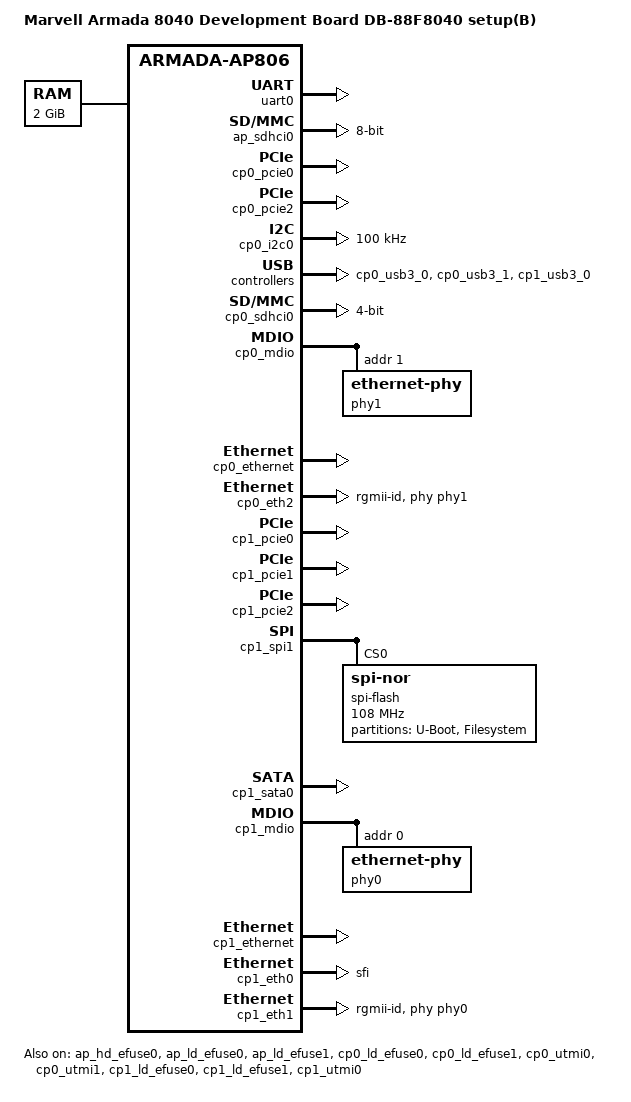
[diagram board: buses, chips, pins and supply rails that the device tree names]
// SPDX-License-Identifier: GPL-2.0+
/*
 * Copyright (C) 2018 Marvell International Ltd.
 */

/*
 * Device Tree file for Marvell Armada 8040 Development board platform
 */

#include "armada-80x0-db.dtsi"

/ {
	model = "Marvell Armada 8040 Development Board DB-88F8040 setup(B)";
	compatible = "marvell,armada8040-db", "marvell,armada8040",
		     "marvell,armada-ap806-quad", "marvell,armada-ap806";

	chosen {
		stdout-path = "serial0:115200n8";
	};

	aliases {
		i2c0 = &cp0_i2c0;
		spi0 = &cp1_spi1;
		fuse1 = &ap_ld_efuse0;
		fuse2 = &ap_ld_efuse1;
		fuse3 = &cp0_ld_efuse0;
		fuse4 = &cp0_ld_efuse1;
		fuse5 = &cp1_ld_efuse0;
		fuse6 = &cp1_ld_efuse1;
	};

	memory@00000000 {
		device_type = "memory";
		reg = <0x0 0x0 0x0 0x80000000>;
	};
};

/* Accessible over the mini-USB CON9 connector on the main board */
&uart0 {
	status = "okay";
};

&ap_hd_efuse0 {
	status = "okay";
};

&ap_ld_efuse0 {
	status = "okay";
};

&ap_ld_efuse1 {
	status = "okay";
};

&ap_pinctl {
	/* MPP Bus:
	 * SDIO  [0-10]
	 * UART0 [11,19]
	 */
		  /* 0 1 2 3 4 5 6 7 8 9 */
	pin-func = < 1 1 1 1 1 1 1 1 1 1
		     1 3 0 0 0 0 0 0 0 3 >;
};

&ap_sdhci0 {
	pinctrl-names = "default";
	pinctrl-0 = <&ap_emmc_pins>;
	bus-width = <8>;
	status = "okay";
};

&cp0_pinctl {
	/* MPP Bus:
	 *	[0-31]	= 0xff: Keep default CP0_shared_pins
	 *	[11]	CLKOUT_MPP_11 (out)
	 *	[23]	LINK_RD_IN_CP2CP (in)
	 *	[25]	CLKOUT_MPP_25 (out)
	 *	[29]	AVS_FB_IN_CP2CP (in)
	 *	[32,34]	GE_MDIO/MDC
	 *	[33]	GPIO: GE_INT#/push button/Wake
	 *	[35]	MSS_GPIO[3]: MSS_PWDN
	 *	[36]	MSS_GPIO[5]: MSS_VTT_EN
	 *	[37-38]	I2C0
	 *	[39]	PTP_CLK
	 *	[40-41]	SATA[0/1]_PRESENT_ACTIVEn
	 *	[42-43]	XG_MDC/XG_MDIO (XSMI)
	 *	[44-55]	RGMII1
	 *	[56-62]	SD
	 */
	/*   0    1    2    3    4    5    6    7    8    9 */
	pin-func = < 0xff 0xff 0xff 0xff 0xff 0xff 0xff 0xff 0xff 0xff
		     0xff 0xff 0xff 0xff 0xff 0xff 0xff 0xff 0xff 0xff
		     0xff 0xff 0xff 0xff 0xff 0xff 0xff 0xff 0xff 0xff
		     0xff 0xff 0x7  0x0  0x7  0xa  0xa  0x2  0x2  0x5
		     0x9  0x9  0x8  0x8  0x1  0x1  0x1  0x1  0x1  0x1
		     0x1  0x1  0x1  0x1  0x1  0x1  0xe  0xe  0xe  0xe
		     0xe  0xe  0xe>;
};

&cp0_ld_efuse0 {
	status = "okay";
};

&cp0_ld_efuse1 {
	status = "okay";
};

&cp0_comphy {
	/* Serdes Configuration:
	 *	Lane 0-3: PCIe0 (x4)
	 *	Lane 4: USB3_HOST1
	 *	Lane 5: PCIe2 (x1)
	 */
	phy0 {
		phy-type = <COMPHY_TYPE_PEX0>;
	};

	phy1 {
		phy-type = <COMPHY_TYPE_PEX0>;
	};

	phy2 {
		phy-type = <COMPHY_TYPE_PEX0>;
	};

	phy3 {
		phy-type = <COMPHY_TYPE_PEX0>;
	};

	phy4 {
		phy-type = <COMPHY_TYPE_USB3_HOST1>;
	};

	phy5 {
		phy-type = <COMPHY_TYPE_PEX2>;
	};
};

/* CON6 on CP0 expansion */
&cp0_pcie0 {
	status = "okay";
};

&cp0_pcie1 {
	status = "disabled";
};

/* CON5 on CP0 expansion */
&cp0_pcie2 {
	status = "okay";
};

&cp0_i2c0 {
	pinctrl-names = "default";
	pinctrl-0 = <&cp0_i2c0_pins>;
	status = "okay";
	clock-frequency = <100000>;
};

/* CON9 on CP0 expansion */
&cp0_usb3_0 {
	status = "okay";
};

/* CON10 on CP0 expansion */
&cp0_usb3_1 {
	status = "okay";
};

&cp0_utmi0 {
	status = "okay";
};

&cp0_utmi1 {
	status = "okay";
};

&cp0_sdhci0 {
	pinctrl-names = "default";
	pinctrl-0 = <&cp0_sdhci_pins>;
	bus-width = <4>;
	status = "okay";
};

&cp0_mdio {
	status = "okay";
	phy1: ethernet-phy@1 {
		reg = <1>;
	};
};

&cp0_ethernet {
	status = "okay";
};

&cp0_eth2 {
	status = "okay";
	phy = <&phy1>;
	phy-mode = "rgmii-id";
};

&cp1_pinctl {
	/* MPP Bus:
	 *	[0-11]	RGMII0
	 *	[13-16]	SPI1
	 *	[27,31]	GE_MDIO/MDC
	 *	[28]	SATA1_PRESENT_ACTIVEn
	 *	[29-30]	UART0
	 *	[32-62]	= 0xff: Keep default CP1_shared_pins
	 */
	/*   0    1    2    3    4    5    6    7    8    9 */
	pin-func = < 0x3  0x3  0x3  0x3  0x3  0x3  0x3  0x3  0x3  0x3
		     0x3  0x3  0x3  0x3  0x3  0x3  0x3  0xff 0xff 0xff
		     0xff 0xff 0xff 0xff 0xff 0xff 0xff 0x8  0x9  0xa
		     0xA  0x8  0xff 0xff 0xff 0xff 0xff 0xff 0xff 0xff
		     0xff 0xff 0xff 0xff 0xff 0xff 0xff 0xff 0xff 0xff
		     0xff 0xff 0xff 0xff 0xff 0xff 0xff 0xff 0xff 0xff
		     0xff 0xff 0xff>;
};

&cp1_ld_efuse0 {
	status = "okay";
};

&cp1_ld_efuse1 {
	status = "okay";
};

&cp1_comphy {
	/* Serdes Configuration:
	 *	Lane 0: PCIe0 (x1)
	 *	Lane 1: USB3_HOST0
	 *	Lane 2: SFI0 (10G)
	 *	Lane 3: SATA1
	 *	Lane 4: PCIe1 (x1)
	 *	Lane 5: PCIe2 (x1)
	 */
	phy0 {
		phy-type = <COMPHY_TYPE_PEX0>;
	};
	phy1 {
		phy-type = <COMPHY_TYPE_USB3_HOST0>;
	};
	phy2 {
		phy-type = <COMPHY_TYPE_SFI0>;
		phy-speed = <COMPHY_SPEED_10_3125G>;
	};
	phy3 {
		phy-type = <COMPHY_TYPE_SATA1>;
	};
	phy4 {
		phy-type = <COMPHY_TYPE_PEX1>;
	};
	phy5 {
		phy-type = <COMPHY_TYPE_PEX2>;
	};
};

/* CON6 on CP1 expansion */
&cp1_pcie0 {
	status = "okay";
};

&cp1_pcie1 {
	status = "okay";
};

/* CON5 on CP1 expansion */
&cp1_pcie2 {
	status = "okay";
};

&cp1_spi1 {
	pinctrl-names = "default";
	pinctrl-0 = <&cp1_spi1_pins>;
	reg = <0x700680 0x50>,		/* control */
	      <0x2000000 0x1000000>,	/* CS0 */
	      <0 0xffffffff>;		/* CS1 */
	status = "okay";

	spi-flash@0 {
		#address-cells = <1>;
		#size-cells = <1>;
		compatible = "jedec,spi-nor", "spi-flash";
		reg = <0>;
		spi-max-frequency = <108000000>;

		partitions {
			compatible = "fixed-partitions";
			#address-cells = <1>;
			#size-cells = <1>;

			partition@0 {
				label = "U-Boot";
				reg = <0 0x200000>;
			};
			partition@400000 {
				label = "Filesystem";
				reg = <0x200000 0xce0000>;
			};
		};
	};
};

/* CON4 on CP1 expansion */
&cp1_sata0 {
	status = "okay";
};

/* CON9 on CP1 expansion */
&cp1_usb3_0 {
	status = "okay";
};

&cp1_utmi0 {
	status = "okay";
};

&cp1_mdio {
	status = "okay";
	phy0: ethernet-phy@0 {
		reg = <0>;
	};
};

&cp1_ethernet {
	status = "okay";
};

&cp1_eth0 {
	status = "okay";
	phy-mode = "sfi"; /* lane-2 */
};

&cp1_eth1 {
	status = "okay";
	phy = <&phy0>;
	phy-mode = "rgmii-id";
};
